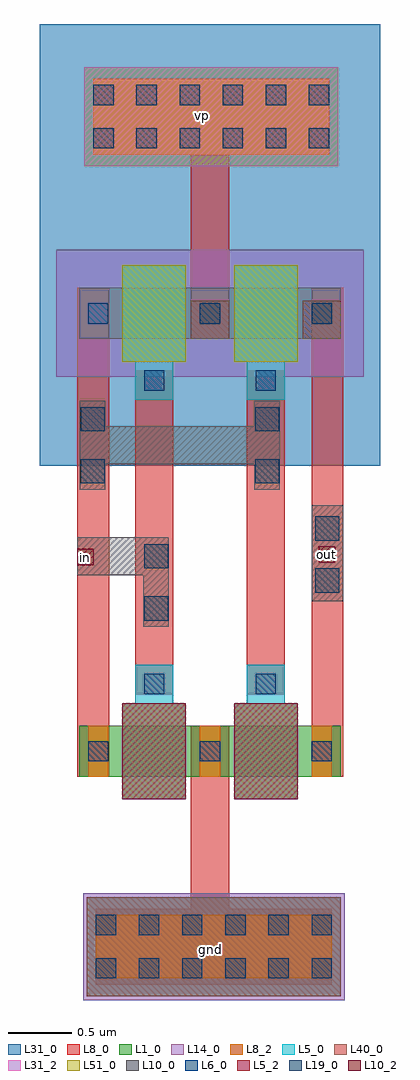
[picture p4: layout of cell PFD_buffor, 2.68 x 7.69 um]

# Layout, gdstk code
import gdstk
lib = gdstk.Library(unit=1e-6, precision=1e-09)
def R(c, l, rs):  # rectangles x0, y0, x1, y1
    for r in rs: c.add(gdstk.rectangle(r[:2], r[2:], *l))
def A(c, l, x, y, w, h, nx, ny, dx, dy):  # array of equal rectangles
    R(c, l, [(x+i*dx, y+j*dy, x+i*dx+w, y+j*dy+h) for i in range(nx) for j in range(ny)])
L1_0 = (1, 0)
L5_0 = (5, 0)
L5_2 = (5, 2)
L6_0 = (6, 0)
L8_0 = (8, 0)
L8_2 = (8, 2)
L10_0 = (10, 0)
L10_2 = (10, 2)
L14_0 = (14, 0)
L19_0 = (19, 0)
L31_0 = (31, 0)
L31_2 = (31, 2)
L40_0 = (40, 0)
L51_0 = (51, 0)

ntap1 = lib.new_cell('ntap1')
R(ntap1, L1_0, [(0,0,2,0.78)])
A(ntap1, L6_0, 0.07, 0.14, 0.16, 0.16, 6, 2, 0.34, 0.34)
R(ntap1, L8_0, [(0.07,0.09,1.93,0.69)])
R(ntap1, L8_2, [(0.07,0.09,1.93,0.69), (0.07,0.14,1.93,0.64)])
R(ntap1, L31_0, [(-0.24,-0.24,2.24,1.02), (0,0,2,0.78)])
R(ntap1, L31_2, [(0,0,2,0.78)])
ntap1.add(gdstk.Label('well', (1,0.01), layer=31, texttype=0))
ntap1.add(gdstk.Label('well', (1,0.01), layer=63, texttype=0))

pmos = lib.new_cell('pmos')
R(pmos, L1_0, [(0,0,0.3,0.3), (0,0,1.18,0.4), (0.88,0,1.18,0.3)])
R(pmos, L5_0, [(0.34,-0.18,0.84,0.58), (0.34,-0.18,0.84,0.58)])
R(pmos, L6_0, [(0.07,0.12,0.23,0.28), (0.95,0.12,1.11,0.28)])
R(pmos, L8_0, [(0.07,0,0.23,0.4), (0.07,0,0.23,0.4), (0.95,0,1.11,0.4), (0.95,0,1.11,0.4)])
R(pmos, L14_0, [(-0.18,-0.3,1.36,0.7)])
R(pmos, L31_0, [(-0.31,-0.31,1.49,0.71)])
R(pmos, L40_0, [(0.88,0,1.18,0.3)])
R(pmos, L51_0, [(0.34,-0.18,0.84,0.58)])
pmos.add(gdstk.Label('pmos', (0.59,0.2), layer=63, texttype=0))
pmos.add(gdstk.Label('pmos', (0.59,0.2), layer=51, texttype=0))

nmos = lib.new_cell('nmos')
R(nmos, L1_0, [(0,0,0.3,0.3), (0,0,1.18,0.4), (0.88,0,1.18,0.3)])
R(nmos, L5_0, [(0.34,-0.18,0.84,0.58)])
R(nmos, L5_2, [(0.34,-0.18,0.84,0.58)])
R(nmos, L6_0, [(0.07,0.12,0.23,0.28), (0.95,0.12,1.11,0.28)])
R(nmos, L8_0, [(0.07,0,0.23,0.4), (0.95,0,1.11,0.4)])
R(nmos, L8_2, [(0.07,0,0.23,0.4), (0.95,0,1.11,0.4)])
R(nmos, L51_0, [(0.34,-0.18,0.84,0.58)])
nmos.add(gdstk.Label('nmos', (0.59,0.2), layer=63, texttype=0))
nmos.add(gdstk.Label('nmos', (0.59,0.2), layer=51, texttype=0))

ptap1 = lib.new_cell('ptap1')
R(ptap1, L1_0, [(0,0,2,0.78)])
A(ptap1, L6_0, 0.07, 0.14, 0.16, 0.16, 6, 2, 0.34, 0.34)
R(ptap1, L8_0, [(0.07,0.09,1.93,0.69), (0.07,0.14,1.93,0.64)])
R(ptap1, L8_2, [(0.07,0.14,1.93,0.64)])
R(ptap1, L14_0, [(-0.03,-0.03,2.03,0.81)])
R(ptap1, L40_0, [(0,0,2,0.78)])
ptap1.add(gdstk.Label('sub!', (1,0.01), layer=63, texttype=0))
ptap1.add(gdstk.Label('sub!', (1,0.01), layer=40, texttype=0))

via = lib.new_cell('Via')
R(via, L5_0, [(-0.15,-0.15,0.15,0.15)])
R(via, L6_0, [(-0.08,-0.08,0.08,0.08)])
R(via, L8_0, [(-0.13,-0.08,0.13,0.08)])

via_2 = lib.new_cell('Via$2')
R(via_2, L8_0, [(-0.105,-0.35,0.105,0.35)])
R(via_2, L10_0, [(-0.1,-0.35,0.1,0.35)])
R(via_2, L19_0, [(-0.095,-0.3,0.095,-0.11), (-0.095,0.11,0.095,0.3)])

pfd_buffor = lib.new_cell('PFD_buffor')
R(pfd_buffor, L8_2, [(-0.725,-4.425,-0.595,-4.295), (-0.785,2.145,-0.655,2.275)])
R(pfd_buffor, L10_0, [(0.14,-1.62,0.39,-0.86)])
R(pfd_buffor, L10_2, [(-1.705,-1.335,-1.575,-1.205), (0.195,-1.315,0.325,-1.185)])
R(pfd_buffor, L31_0, [(-2,-0.55,0.68,2.93)])
pfd_buffor.add(gdstk.FlexPath([(-0.66,0.45),(-0.66,1.95)], 0.3, ends="flush", simple_path=True, layer=8, datatype=0))  # L8_0
pfd_buffor.add(gdstk.FlexPath([(-0.66,-2.6),(-0.66,-4.04)], 0.3, ends="flush", simple_path=True, layer=8, datatype=0))  # L8_0
pfd_buffor.add(gdstk.FlexPath([(-1.1,0.2),(-1.1,-2.35)], 0.3, ends="flush", simple_path=True, layer=8, datatype=0))  # L8_0
pfd_buffor.add(gdstk.FlexPath([(-0.22,0.2),(-0.22,-2.35)], 0.3, ends="flush", simple_path=True, layer=8, datatype=0))  # L8_0
pfd_buffor.add(gdstk.FlexPath([(0.265,-3),(0.265,0.85)], 0.25, ends="flush", simple_path=True, layer=8, datatype=0))  # L8_0
pfd_buffor.add(gdstk.FlexPath([(-1.58,-3),(-1.58,0.85)], 0.25, ends="flush", simple_path=True, layer=8, datatype=0))  # L8_0
pfd_buffor.add(gdstk.FlexPath([(-0.99,-1.265),(-1.705,-1.265)], 0.3, ends="flush", simple_path=True, layer=10, datatype=0))  # L10_0
pfd_buffor.add(gdstk.FlexPath([(-1.685,-0.39),(-0.115,-0.39)], 0.3, ends="flush", simple_path=True, layer=10, datatype=0))  # L10_0
pfd_buffor.add(gdstk.Reference(ntap1, (-1.65,1.81)))
pfd_buffor.add(gdstk.Reference(pmos, (-1.69,0.45)))
pfd_buffor.add(gdstk.Reference(pmos, (-0.81,0.45)))
pfd_buffor.add(gdstk.Reference(nmos, (-0.81,-3)))
pfd_buffor.add(gdstk.Reference(nmos, (-1.69,-3)))
pfd_buffor.add(gdstk.Reference(ptap1, (-1.63,-4.73)))
pfd_buffor.add(gdstk.Reference(via, (-1.1,-2.27)))
pfd_buffor.add(gdstk.Reference(via, (-1.1,0.12)))
pfd_buffor.add(gdstk.Reference(via, (-0.22,-2.27)))
pfd_buffor.add(gdstk.Reference(via, (-0.22,0.12)))
pfd_buffor.add(gdstk.Reference(via_2, (-1.585,-0.39)))
pfd_buffor.add(gdstk.Reference(via_2, (-1.085,-1.47)))
pfd_buffor.add(gdstk.Reference(via_2, (0.265,-1.25)))
pfd_buffor.add(gdstk.Reference(via_2, (-0.21,-0.39)))
pfd_buffor.add(gdstk.Label('vp', (-0.72,2.21), layer=8, texttype=25))
pfd_buffor.add(gdstk.Label('gnd', (-0.66,-4.36), layer=8, texttype=25))
pfd_buffor.add(gdstk.Label('in', (-1.64,-1.27), layer=10, texttype=25))
pfd_buffor.add(gdstk.Label('out', (0.26,-1.25), layer=10, texttype=25))

lib.write_gds('PFD_buffor.gds')
